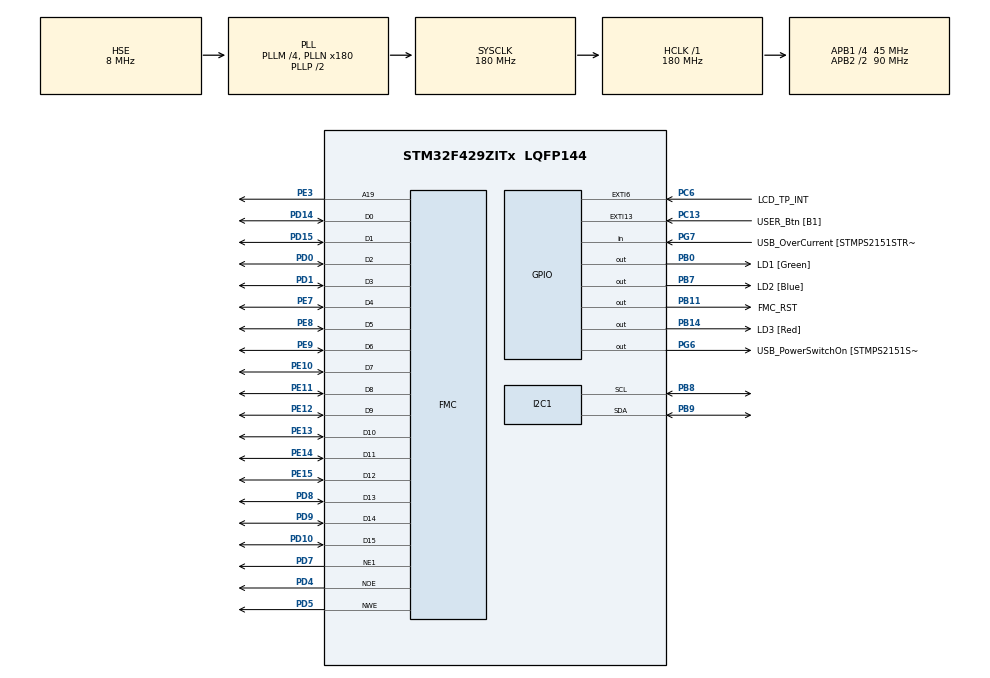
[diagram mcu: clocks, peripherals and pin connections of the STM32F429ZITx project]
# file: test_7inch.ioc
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DMA2D.ColorMode=DMA2D_OUTPUT_RGB565
FMC.AddressSetupTime1=6
FMC.BusTurnAroundDuration1=0
FMC.DataSetupTime1=6
I2C1.I2C_Mode=I2C_Fast
Mcu.Family=STM32F4
Mcu.Name=STM32F429ZITx
Mcu.Package=LQFP144
Mcu.UserConstants=VSync_TIM_Period,16000-1;VSync_TIM_Prescaler,180/2-1
NVIC.DMA2D_IRQn=true\:0\:0\:false\:false\:true\:true\:true
NVIC.EXTI15_10_IRQn=true\:0\:0\:false\:false\:true\:true\:true
NVIC.EXTI9_5_IRQn=true\:0\:0\:false\:false\:true\:true\:true
NVIC.I2C1_EV_IRQn=true\:0\:0\:false\:false\:true\:true\:true
NVIC.PriorityGroup=NVIC_PRIORITYGROUP_4
NVIC.TIM6_DAC_IRQn=true\:0\:0\:false\:false\:true\:true\:true
NVIC.TIM7_IRQn=true\:0\:0\:false\:false\:true\:true\:true
PA1.GPIO_Label=RMII_REF_CLK [LAN8742A-CZ-TR_REFCLK0]
PA1.Signal=ETH_REF_CLK
PA10.GPIO_Label=USB_ID
PA10.Signal=USB_OTG_FS_ID
PA11.GPIO_Label=USB_DM
PA11.Signal=USB_OTG_FS_DM
PA12.GPIO_Label=USB_DP
PA12.Signal=USB_OTG_FS_DP
PA13.GPIO_Label=TMS
PA13.Mode=Serial_Wire
PA13.Signal=SYS_JTMS-SWDIO
PA14.GPIO_Label=TCK
PA14.Mode=Serial_Wire
PA14.Signal=SYS_JTCK-SWCLK
PA2.GPIO_Label=RMII_MDIO [LAN8742A-CZ-TR_MDIO]
PA2.Signal=ETH_MDIO
PA8.GPIO_Label=USB_SOF [TP1]
PA8.Signal=USB_OTG_FS_SOF
PA9.GPIO_Label=USB_VBUS
PA9.Signal=USB_OTG_FS_VBUS
PB0.GPIO_Label=LD1 [Green]
PB0.Signal=GPIO_Output
PB11.GPIO_Label=FMC_RST
PB11.Signal=GPIO_Output
PB14.GPIO_Label=LD3 [Red]
PB14.Signal=GPIO_Output
PB7.GPIO_Label=LD2 [Blue]
PB7.Signal=GPIO_Output
PB8.Mode=I2C
PB8.Signal=I2C1_SCL
PB9.Mode=I2C
PB9.Signal=I2C1_SDA
PC1.GPIO_Label=RMII_MDC [LAN8742A-CZ-TR_MDC]
PC1.Signal=ETH_MDC
PC13.GPIO_Label=USER_Btn [B1]
PC13.Signal=GPXTI13
PC14/OSC32_IN.Signal=RCC_OSC32_IN
PC15/OSC32_OUT.Signal=RCC_OSC32_OUT
PC6.GPIO_Label=LCD_TP_INT
PC6.GPIO_ModeDefaultEXTI=GPIO_MODE_IT_FALLING
PC6.GPIO_PuPd=GPIO_NOPULL
PC6.Signal=GPXTI6
PD0.Signal=FMC_D2_DA2
PD1.Signal=FMC_D3_DA3
PD10.Signal=FMC_D15_DA15
PD14.Signal=FMC_D0_DA0
PD15.Signal=FMC_D1_DA1
PD4.Signal=FMC_NOE
PD5.Signal=FMC_NWE
PD7.Mode=NorPsramChipSelect1_1
PD7.Signal=FMC_NE1
PD8.Signal=FMC_D13_DA13
PD9.Signal=FMC_D14_DA14
PE10.Signal=FMC_D7_DA7
PE11.Signal=FMC_D8_DA8
PE12.Signal=FMC_D9_DA9
PE13.Signal=FMC_D10_DA10
PE14.Signal=FMC_D11_DA11
PE15.Signal=FMC_D12_DA12
PE3.Signal=FMC_A19
PE7.Signal=FMC_D4_DA4
PE8.Signal=FMC_D5_DA5
PE9.Signal=FMC_D6_DA6
PG6.GPIO_Label=USB_PowerSwitchOn [STMPS2151STR_EN]
PG6.Signal=GPIO_Output
PG7.GPIO_Label=USB_OverCurrent [STMPS2151STR_FAULT]
PG7.Signal=GPIO_Input
PH0/OSC_IN.GPIO_Label=MCO [STM32F103CBT6_PA8]
PH0/OSC_IN.Mode=HSE-External-Oscillator
PH0/OSC_IN.Signal=RCC_OSC_IN
PH1/OSC_OUT.Mode=HSE-External-Oscillator
PH1/OSC_OUT.Signal=RCC_OSC_OUT
ProjectManager.HeapSize=0x200
ProjectManager.StackSize=0x4000
ProjectManager.TargetToolchain=STM32CubeIDE
RCC.48MHZClocksFreq_Value=90000000
RCC.AHBFreq_Value=180000000
RCC.APB1CLKDivider=RCC_HCLK_DIV4
RCC.APB1Freq_Value=45000000
RCC.APB1TimFreq_Value=90000000
RCC.APB2CLKDivider=RCC_HCLK_DIV2
RCC.APB2Freq_Value=90000000
RCC.APB2TimFreq_Value=180000000
RCC.CortexFreq_Value=180000000
RCC.HCLKFreq_Value=180000000
RCC.HSE_VALUE=8000000
RCC.HSI_VALUE=16000000
RCC.LSE_VALUE=32768
RCC.PLLM=4
RCC.PLLMUL=RCC_PLL_MUL9
RCC.PLLN=180
RCC.PLLSourceVirtual=RCC_PLLSOURCE_HSE
RCC.PRESCALERUSB=RCC_USBCLKSOURCE_PLL_DIV1_5
RCC.SYSCLKFreq_VALUE=180000000
RCC.SYSCLKSource=RCC_SYSCLKSOURCE_PLLCLK
RCC.SYSCLKSourceVirtual=RCC_SYSCLKSOURCE_PLLCLK
RCC.USBFreq_Value=48000000
RCC.VCOOutputFreq_Value=360000000
SH.FMC_A19.0=FMC_A19,A19_1
SH.FMC_D0_DA0.0=FMC_D0,16b-d1
SH.FMC_D10_DA10.0=FMC_D10,16b-d1
SH.FMC_D11_DA11.0=FMC_D11,16b-d1
SH.FMC_D12_DA12.0=FMC_D12,16b-d1
SH.FMC_D13_DA13.0=FMC_D13,16b-d1
SH.FMC_D14_DA14.0=FMC_D14,16b-d1
SH.FMC_D15_DA15.0=FMC_D15,16b-d1
SH.FMC_D1_DA1.0=FMC_D1,16b-d1
SH.FMC_D2_DA2.0=FMC_D2,16b-d1
SH.FMC_D3_DA3.0=FMC_D3,16b-d1
SH.FMC_D4_DA4.0=FMC_D4,16b-d1
SH.FMC_D5_DA5.0=FMC_D5,16b-d1
SH.FMC_D6_DA6.0=FMC_D6,16b-d1
SH.FMC_D7_DA7.0=FMC_D7,16b-d1
SH.FMC_D8_DA8.0=FMC_D8,16b-d1
SH.FMC_D9_DA9.0=FMC_D9,16b-d1
SH.FMC_NOE.0=FMC_NOE,Lcd1
SH.FMC_NWE.0=FMC_NWE,Lcd1
STMicroelectronics.X-CUBE-TOUCHGFX.4.15.0.ApplicationCcGraphicsJjApplication=TouchGFXOoGenerator
STMicroelectronics.X-CUBE-TOUCHGFX.4.15.0.tgfx_block_size=200*20
STMicroelectronics.X-CUBE-TOUCHGFX.4.15.0.tgfx_buffering_strategy=Partial
STMicroelectronics.X-CUBE-TOUCHGFX.4.15.0.tgfx_custom_height=480
STMicroelectronics.X-CUBE-TOUCHGFX.4.15.0.tgfx_custom_width=800
STMicroelectronics.X-CUBE-TOUCHGFX.4.15.0.tgfx_hardware_accelerator=dma_2d
STMicroelectronics.X-CUBE-TOUCHGFX.4.15.0.tgfx_number_of_blocks=20
TIM6.Period=1000-1
TIM6.Prescaler=180/2-1
TIM7.Period=VSync_TIM_Period
TIM7.Prescaler=VSync_TIM_Prescaler
VP_CRC_VS_CRC.Mode=CRC_Activate
VP_DMA2D_VS_DMA2D.Mode=DMA2D_Activate
VP_STMicroelectronics.X-CUBE-TOUCHGFX_VS_GraphicsJjApplication_4.15.0.Mode=GraphicsJjApplication
VP_TIM6_VS_ClockSourceINT.Mode=Enable_Timer
VP_TIM7_VS_ClockSourceINT.Mode=Enable_Timer
board=NUCLEO-F429ZI

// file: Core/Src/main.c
/* USER CODE BEGIN Header */
/**
  ******************************************************************************
  * @file           : main.c
  * @brief          : Main program body
  ******************************************************************************
  * @attention
  *
  * <h2><center>&copy; Copyright (c) 2020 STMicroelectronics.
  * All rights reserved.</center></h2>
  *
  * This software component is licensed by ST under BSD 3-Clause license,
  * the "License"; You may not use this file except in compliance with the
  * License. You may obtain a copy of the License at:
  *                        opensource.org/licenses/BSD-3-Clause
  *
  ******************************************************************************
  */
/* USER CODE END Header */
#include "main.h"
#include "crc.h"
#include "dma2d.h"
#include "i2c.h"
#include "tim.h"
#include "gpio.h"
#include "fmc.h"
#include "app_touchgfx.h"

/* USER CODE BEGIN Includes */
#include "lcd.h"
#include "lcd_TP.h"
#include <string.h>
/* USER CODE END Includes */

void SystemClock_Config(void);
/* USER CODE BEGIN PFP */
extern void touchgfxSignalVSync();
extern void	DisplayDriver_TransferCompleteCallback();
/* USER CODE END PFP */

int main(void)
{

  /* MCU Configuration--------------------------------------------------------*/

  /* Reset of all peripherals, Initializes the Flash interface and the Systick. */
  HAL_Init();

  /* Configure the system clock */
  SystemClock_Config();

  /* USER CODE BEGIN SysInit */
  SystemCoreClockUpdate();
  /* USER CODE END SysInit */

  /* Initialize all configured peripherals */
  MX_GPIO_Init();
  MX_FMC_Init();
  MX_CRC_Init();
  MX_DMA2D_Init();
  MX_TIM7_Init();
  MX_TIM6_Init();
  MX_I2C1_Init();
  MX_TouchGFX_Init();
  /* USER CODE BEGIN 2 */
  LCD_init();
  HAL_Delay(500);
  LCD_backlight(1);
  LCD_graphicsMode();
  LCD_TP_init();
  HAL_TIM_Base_Start_IT(&htim7);
  HAL_TIM_Base_Start_IT(&htim6);

  /* USER CODE END 2 */

  /* Infinite loop */
  /* USER CODE BEGIN WHILE */
  while (1)
  {
	  //touchgfxSignalVSync();
	  //HAL_Delay(16);
	  //touchgfxSignalVSync();
    /* USER CODE END WHILE */

  MX_TouchGFX_Process();
  }
}

void SystemClock_Config(void)
{
  RCC_OscInitTypeDef RCC_OscInitStruct = {0};
  RCC_ClkInitTypeDef RCC_ClkInitStruct = {0};

  /** Configure the main internal regulator output voltage
  */
  __HAL_RCC_PWR_CLK_ENABLE();
  __HAL_PWR_VOLTAGESCALING_CONFIG(PWR_REGULATOR_VOLTAGE_SCALE1);
  /** Initializes the RCC Oscillators according to the specified parameters
  * in the RCC_OscInitTypeDef structure.
  */
  RCC_OscInitStruct.OscillatorType = RCC_OSCILLATORTYPE_HSE;
  RCC_OscInitStruct.HSEState = RCC_HSE_ON;
  RCC_OscInitStruct.PLL.PLLState = RCC_PLL_ON;
  RCC_OscInitStruct.PLL.PLLSource = RCC_PLLSOURCE_HSE;
  RCC_OscInitStruct.PLL.PLLM = 4;
  RCC_OscInitStruct.PLL.PLLN = 180;
  RCC_OscInitStruct.PLL.PLLP = RCC_PLLP_DIV2;
  RCC_OscInitStruct.PLL.PLLQ = 4;
  if (HAL_RCC_OscConfig(&RCC_OscInitStruct) != HAL_OK)
  {
    Error_Handler();
  }
  /** Activate the Over-Drive mode
  */
  if (HAL_PWREx_EnableOverDrive() != HAL_OK)
  {
    Error_Handler();
  }
  /** Initializes the CPU, AHB and APB buses clocks
  */
  RCC_ClkInitStruct.ClockType = RCC_CLOCKTYPE_HCLK|RCC_CLOCKTYPE_SYSCLK
                              |RCC_CLOCKTYPE_PCLK1|RCC_CLOCKTYPE_PCLK2;
  RCC_ClkInitStruct.SYSCLKSource = RCC_SYSCLKSOURCE_PLLCLK;
  RCC_ClkInitStruct.AHBCLKDivider = RCC_SYSCLK_DIV1;
  RCC_ClkInitStruct.APB1CLKDivider = RCC_HCLK_DIV4;
  RCC_ClkInitStruct.APB2CLKDivider = RCC_HCLK_DIV2;

  if (HAL_RCC_ClockConfig(&RCC_ClkInitStruct, FLASH_LATENCY_5) != HAL_OK)
  {
    Error_Handler();
  }
}

/* USER CODE BEGIN 4 */
int touchgfxDisplayDriverTransmitActive(){
	if(!LCD_waitPoll(0x50, 0x80)) return 1;
	return 0;

}
void touchgfxDisplayDriverTransmitBlock(const uint8_t* pixels, uint16_t x, uint16_t y, uint16_t w, uint16_t h){
	LCD_drawBuffer((uint16_t *)pixels, x, y, w, h);
	DisplayDriver_TransferCompleteCallback();
}

/* USER CODE END 4 */

void Error_Handler(void)
{
}

/************************ (C) COPYRIGHT STMicroelectronics *****END OF FILE****/
